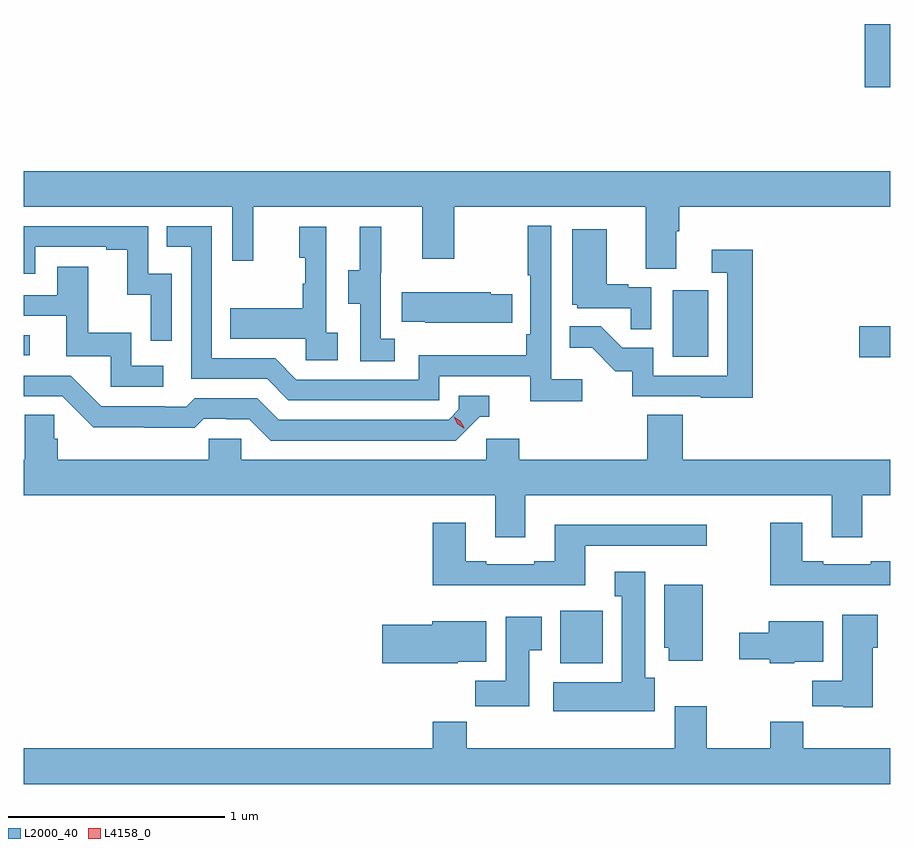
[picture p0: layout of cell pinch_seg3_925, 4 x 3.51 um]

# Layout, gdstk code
import gdstk
lib = gdstk.Library(unit=1e-6, precision=1e-09)
def R(c, l, rs):  # rectangles x0, y0, x1, y1
    for r in rs: c.add(gdstk.rectangle(r[:2], r[2:], *l))
def P(c, l, *ps):  # polygons
    for p in ps: c.add(gdstk.Polygon(p, *l))
L2000_40 = (2000, 40)
L4158_0 = (4158, 0)

pinch_seg3_925 = lib.new_cell('pinch_seg3_925')
R(pinch_seg3_925, L2000_40, [(889.673,681.494,889.87,681.736), (891.054,682.906,891.197,683.048), (890.192,682.908,890.356,683.215), (887.197,682.914,887.224,683.007), (891.08,684.153,891.197,684.444)])
P(pinch_seg3_925, L2000_40, [(890.209,683.488),(890.222,683.488),(890.222,683.6),(891.197,683.6),(891.197,683.764),(887.197,683.764),(887.197,683.6),(888.159,683.6),(888.159,683.352),(888.257,683.352),(888.257,683.6),(889.037,683.6),(889.037,683.361),(889.185,683.361),(889.185,683.6),(890.069,683.6),(890.069,683.314),(890.209,683.314)],
  [(889.774,682.804),(889.632,682.804),(889.632,683.512),(889.524,683.512),(889.524,683.284),(889.536,683.284),(889.536,683.011),(889.516,683.011),(889.516,682.915),(889.02,682.915),(889.02,682.803),(888.456,682.803),(888.357,682.902),(888.066,682.902),(888.066,683.511),(887.857,683.511),(887.857,683.415),(887.97,683.415),(887.97,682.806),(888.32,682.806),(888.419,682.707),(889.116,682.707),(889.116,682.818),(889.535,682.818),(889.535,682.702),(889.774,682.702)],
  [(887.88,683.292),(887.772,683.292),(887.772,683.511),(887.197,683.511),(887.197,683.292),(887.25,683.292),(887.25,683.415),(887.579,683.415),(887.579,683.403),(887.675,683.403),(887.675,683.195),(887.784,683.195),(887.784,682.983),(887.88,682.983)],
  [(888.91,682.991),(888.846,682.991),(888.846,683.295),(888.848,683.295),(888.848,683.509),(888.749,683.509),(888.749,683.307),(888.695,683.307),(888.695,683.152),(888.75,683.152),(888.75,682.888),(888.91,682.888)],
  [(888.646,683.018),(888.594,683.018),(888.594,683.509),(888.47,683.509),(888.47,683.364),(888.496,683.364),(888.496,683.246),(888.486,683.246),(888.486,683.131),(888.151,683.131),(888.151,682.991),(888.498,682.991),(888.498,682.893),(888.646,682.893)],
  [(890.094,683.229),(889.988,683.229),(889.988,683.242),(889.888,683.242),(889.888,683.497),(889.73,683.497),(889.73,683.148),(889.752,683.148),(889.752,683.133),(889.999,683.133),(889.999,683.035),(890.094,683.035)],
  [(890.561,683.401),(890.373,683.401),(890.373,683.295),(890.445,683.295),(890.445,682.821),(890.103,682.821),(890.103,682.95),(889.959,682.95),(889.861,683.048),(889.717,683.048),(889.717,682.949),(889.821,682.949),(889.928,682.842),(890.005,682.842),(890.005,682.725),(890.323,682.725),(890.323,682.72),(890.561,682.72)],
  [(887.842,682.866),(887.694,682.866),(887.694,683.02),(887.495,683.02),(887.495,683.323),(887.351,683.323),(887.351,683.193),(887.197,683.193),(887.197,683.097),(887.393,683.097),(887.393,682.911),(887.598,682.911),(887.598,682.77),(887.842,682.77)],
  [(889.451,683.196),(889.353,683.196),(889.353,683.206),(888.943,683.206),(888.943,683.069),(889.051,683.069),(889.051,683.066),(889.451,683.066)],
  [(889.302,682.632),(889.345,682.632),(889.345,682.728),(889.206,682.728),(889.206,682.665),(889.158,682.617),(888.375,682.617),(888.276,682.716),(887.987,682.716),(887.948,682.677),(887.849,682.677),(887.849,682.68),(887.556,682.68),(887.415,682.821),(887.197,682.821),(887.197,682.725),(887.376,682.725),(887.518,682.583),(887.754,682.583),(887.754,682.581),(887.987,682.581),(888.029,682.623),(888.132,682.623),(888.132,682.62),(888.239,682.62),(888.338,682.521),(889.191,682.521)],
  [(889.513,682.268),(890.927,682.268),(890.927,682.074),(891.067,682.074),(891.067,682.268),(891.197,682.268),(891.197,682.432),(890.24,682.432),(890.24,682.64),(890.075,682.64),(890.075,682.432),(889.484,682.432),(889.484,682.53),(889.332,682.53),(889.332,682.432),(888.201,682.432),(888.201,682.53),(888.051,682.53),(888.051,682.432),(887.354,682.432),(887.354,682.53),(887.339,682.53),(887.339,682.64),(887.202,682.64),(887.202,682.432),(887.197,682.432),(887.197,682.268),(889.373,682.268),(889.373,682.074),(889.513,682.074)],
  [(891.197,681.964),(891.107,681.964),(891.107,681.951),(890.887,681.951),(890.887,681.964),(890.791,681.964),(890.791,682.141),(890.644,682.141),(890.644,681.854),(891.197,681.854)],
  [(889.789,682.035),(890.35,682.035),(890.35,682.132),(889.649,682.132),(889.649,681.964),(889.553,681.964),(889.553,681.951),(889.333,681.951),(889.333,681.964),(889.237,681.964),(889.237,682.141),(889.085,682.141),(889.085,681.854),(889.789,681.854)],
  [(890.11,681.426),(890.065,681.426),(890.065,681.916),(889.925,681.916),(889.925,681.803),(889.958,681.803),(889.958,681.406),(889.641,681.406),(889.641,681.272),(890.11,681.272)],
  [(890.332,681.856),(890.153,681.856),(890.153,681.564),(890.174,681.564),(890.174,681.504),(890.332,681.504)],
  [(891.115,681.564),(891.139,681.564),(891.139,681.718),(890.975,681.718),(890.975,681.412),(890.836,681.412),(890.836,681.294),(890.979,681.294),(890.979,681.29),(891.115,681.29)],
  [(889.531,681.553),(889.588,681.553),(889.588,681.709),(889.421,681.709),(889.421,681.412),(889.282,681.412),(889.282,681.294),(889.531,681.294)],
  [(889.2,681.5),(889.333,681.5),(889.333,681.688),(889.082,681.688),(889.082,681.671),(888.852,681.671),(888.852,681.494),(889.2,681.494)],
  [(890.754,681.5),(890.887,681.5),(890.887,681.688),(890.636,681.688),(890.636,681.634),(890.499,681.634),(890.499,681.512),(890.64,681.512),(890.64,681.494),(890.754,681.494)],
  [(891.197,681.1),(890.795,681.1),(890.795,681.224),(890.644,681.224),(890.644,681.1),(890.349,681.1),(890.349,681.295),(890.201,681.295),(890.201,681.1),(889.241,681.1),(889.241,681.224),(889.085,681.224),(889.085,681.1),(887.197,681.1),(887.197,680.936),(891.197,680.936)])
P(pinch_seg3_925, L4158_0, [(889.229,682.579),(889.199,682.599),(889.182,682.631),(889.182,682.632),(889.182,682.632),(889.213,682.612),(889.23,682.58),(889.23,682.579)])

lib.write_gds('pinch_seg3_925.gds')
